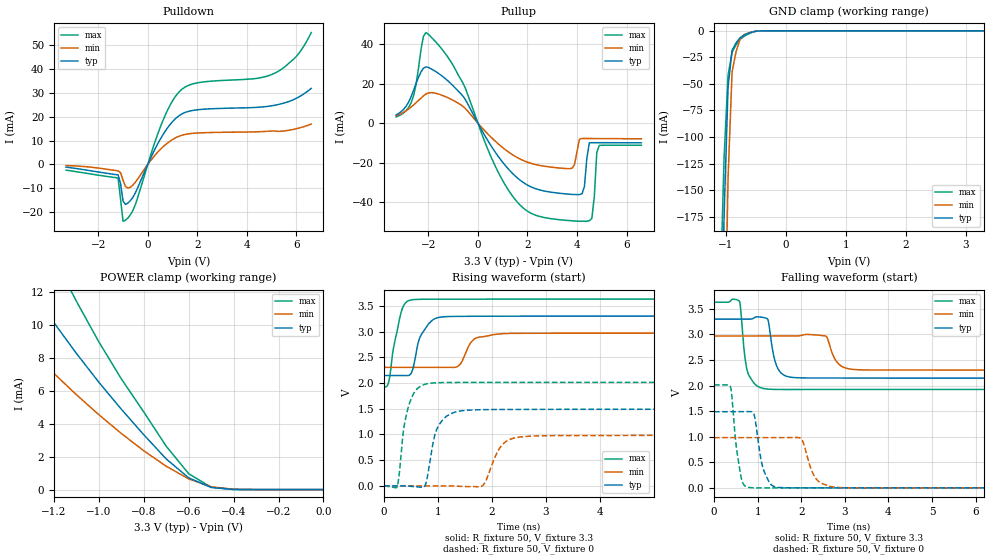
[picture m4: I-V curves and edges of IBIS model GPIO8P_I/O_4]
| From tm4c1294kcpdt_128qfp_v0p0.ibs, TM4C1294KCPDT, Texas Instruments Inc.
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|   Model Cell GPIO8P_I/O_4
[Model]   GPIO8P_I/O_4
Model_type   I/O
Polarity   Non-Inverting
Enable   Active-Low
Vinl =  0.8
Vinh =  2
Cref =  15.0000pF
Rref =  100.0000M
Vref =  0V
Vmeas =  1.65
C_comp   5.378567p   4.597605p   6.118031p
[Model Spec]
Vinl   0.8   0.8   0.8
Vinh   2   2   2
[Temperature Range]   25   125   -40
[Voltage Range]   3.3   2.97   3.63
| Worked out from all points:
|   slope of the pulldown table from 0 to 0.495 V, typ, clamps not added: 47.6 ohm
|   slope of the pullup table from 0 to 0.495 V, typ, clamps not added: 46.2 ohm
|   GND clamp passes 1 mA (typ) near -0.55 V on its own axis
|   POWER clamp passes 1 mA (typ) near -0.62 V on its own axis
|   rising waveform, R_fixture 50, V_fixture 3.3: 20-80 % time 215ps typ, 200ps min, 172ps max; typ from 2.15 V to 3.3 V
|   rising waveform, R_fixture 50, V_fixture 0: 20-80 % time 199ps typ, 254ps min, 174ps max; typ from 0 V to 1.49 V
|   falling waveform, R_fixture 50, V_fixture 3.3: 20-80 % time 162ps typ, 207ps min, 140ps max; typ from 3.3 V to 2.15 V
|   falling waveform, R_fixture 50, V_fixture 0: 20-80 % time 193ps typ, 242ps min, 155ps max; typ from 1.49 V to 0 V
| Nom Voltages:
|   VBAT=3.3, VDDC=1.2, VDD=3.3, GND=0
| Min Voltages:
|   VBAT=2.97, VDDC=1.08, VDD=2.97, GND=0
| Max Voltages:
|   VBAT=3.63, VDDC=1.32, VDD=3.63, GND=0
[POWER_clamp]
|   voltage   I(typ)   I(min)   I(max)
-3.3V     116.1mA    496.8mA    244.3mA
-1.533V   17.14mA    11.87mA    23.97mA
-1.3V     12.14mA    8.433mA    16.92mA
-1.267V   11.48mA    7.98mA     15.99mA
-1.133V   8.919mA    6.212mA    12.36mA
-1.1V     8.296mA    5.781mA    11.47mA
-900mV    4.896mA    3.418mA    6.747mA
-800mV    3.341mA    2.365mA    4.729mA
-700mV    1.867mA    1.423mA    2.643mA
-600mV    716.2uA    650.8uA    969.8uA
-500mV    130.1uA    172.8uA    144.6uA
0V        364.7pA    9.133nA    53.42pA
[Pulldown]
|   voltage   I(typ)   I(min)   I(max)
-3.3V     -1.169mA   -506.4uA   -2.421mA
-1.2V     -4.435mA   -2.714mA   -5.871mA
-1.1V     -8.109mA   -3.531mA   -14.66mA
-1V       -15.39mA   -6.64mA    -23.94mA
-900mV    -16.88mA   -9.321mA   -23.45mA
-500mV    -11.93mA   -7.505mA   -16.83mA
600mV     12.25mA    7.223mA    18.14mA
1.3V      20.71mA    11.98mA    30.84mA
2V        22.93mA    13.18mA    34.26mA
5.1V      24.79mA    14.05mA    38.2mA
6V        27.77mA    14.98mA    45.41mA
6.6V      31.94mA    16.95mA    55.4mA
[Pullup]
|   voltage   I(typ)   I(min)   I(max)
-3.3V     4.211mA    3.769mA    3.166mA
-2.7V     13.31mA    8.095mA    10.2mA
-2.1V     28.4mA     14.72mA    45.7mA
1.1V      -21.27mA   -13.31mA   -31.15mA
2.1V      -31.88mA   -20.11mA   -45.16mA
3.8V      -35.93mA   -22.75mA   -49.25mA
4.2V      -35.67mA   -7.739mA   -49.48mA
4.5V      -9.864mA   -7.75mA    -49.16mA
4.6V      -9.858mA   -7.755mA   -48.11mA
4.8V      -9.854mA   -7.767mA   -14.84mA
4.9V      -9.854mA   -7.774mA   -11.18mA
6.6V      -9.917mA   -7.893mA   -11.16mA
[GND_clamp]
|   voltage   I(typ)   I(min)   I(max)
-3.3V     -16.39A    -15.37A    -17.22A
-1.1V     -384.9mA   -635.5mA   -255.1mA
-1.033V   -175.3mA   -338.1mA   -120.1mA
-966.7mV  -53.11mA   -139.3mA   -41.82mA
-900mV    -18.35mA   -38.91mA   -20.36mA
-833.3mV  -11.36mA   -19.64mA   -13.17mA
-766.7mV  -6.568mA   -7.874mA   -8.128mA
-700mV    -3.981mA   -3.622mA   -5.248mA
-500mV    -326.7uA   -386.2uA   -372.4uA
-366.7mV  -15.8uA    -32.57uA   -14.68uA
3.3V      364.7pA    3.701uA    29.32pA
[Ramp]
| variable   typ   min   max
dV/dt_f 0.72052864/0.1623651n 0.41850119/0.20981261n   1.060543/0.1399875n
dV/dt_r  0.9119039/0.2000912n 0.60163088/0.25774668n  1.2306796/0.17446536n
R_load = 50
[Rising Waveform]
R_fixture = 50
V_fixture = 3.3
V_fixture_min = 2.97
V_fixture_max = 3.63
|   time   V(typ)   V(min)   V(max)
0s        2.146V     2.304V     1.925V
85.7ps    2.146V     2.304V     2.011V
342.6ps   2.146V     2.304V     3.454V
578.5ps   2.48V      2.304V     3.624V
818.7ps   3.137V     2.304V     3.628V
1.149ns   3.289V     2.304V     3.629V
1.4ns     3.295V     2.352V     3.629V
1.694ns   3.297V     2.868V     3.63V
2.273ns   3.299V     2.962V     3.63V
20.04ns   3.3V       2.97V      3.63V
[Rising Waveform]
R_fixture = 50
V_fixture = 0
V_fixture_min = 0
V_fixture_max = 0
|   time   V(typ)   V(min)   V(max)
0s        0V         0V         0V
238.5ps   0V         0V         -25.62mV
446.3ps   -3.239mV   0V         1.513V
744.7ps   -20.72mV   0V         1.971V
880.7ps   664.9mV    0V         1.998V
1.227ns   1.399V     0V         2.01V
1.812ns   1.481V     -8.275mV   2.012V
2.193ns   1.485V     803.3mV    2.012V
2.73ns    1.487V     967.1mV    2.012V
20.01ns   1.489V     982.4mV    2.012V
[Falling Waveform]
R_fixture = 50
V_fixture = 3.3
V_fixture_min = 2.97
V_fixture_max = 3.63
|   time   V(typ)   V(min)   V(max)
0s        3.3V       2.97V      3.63V
580.2ps   3.3V       2.97V      3.651V
767.2ps   3.3V       2.97V      2.273V
1.221ns   3.306V     2.97V      1.932V
1.434ns   2.388V     2.97V      1.925V
1.802ns   2.159V     2.97V      1.924V
2.56ns    2.148V     2.969V     1.925V
2.854ns   2.148V     2.425V     1.925V
3.306ns   2.148V     2.31V      1.925V
20.04ns   2.146V     2.304V     1.925V
[Falling Waveform]
R_fixture = 50
V_fixture = 0
V_fixture_min = 0
V_fixture_max = 0
|   time   V(typ)   V(min)   V(max)
0s        1.489V     981.9mV    2.013V
377.1ps   1.489V     981.9mV    1.97V
619.7ps   1.489V     981.9mV    205.5mV
817.9ps   1.492V     981.9mV    5.58mV
1.138ns   346.6mV    981.9mV    0V
1.475ns   8.738mV    981.8mV    0V
1.986ns   0V         968.1mV    0V
2.353ns   0V         162.4mV    0V
2.841ns   0V         7.388mV    0V
20.01ns   0V         0V         0V
